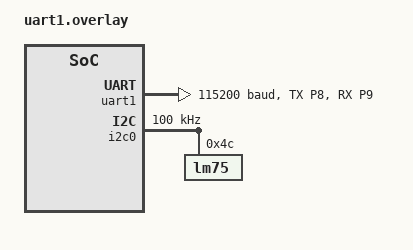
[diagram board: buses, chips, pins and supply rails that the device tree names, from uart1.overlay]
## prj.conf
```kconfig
CONFIG_GPIO=y
CONFIG_I2C=y
CONFIG_PICOLIBC=y
CONFIG_PICOLIBC_IO_FLOAT=y
CONFIG_LIBCSP=y
CONFIG_SERIAL=y
CONFIG_UART_INTERRUPT_DRIVEN=y
CONFIG_POSIX_API=y
CONFIG_LOG=y
CONFIG_SENSOR=y
CONFIG_SENSOR_ASYNC_API=y
CONFIG_LM75=y
```

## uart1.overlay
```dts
/ {
	chosen {
		zephyr,console = &uart1;
		zephyr,shell-uart = &uart1;
	};
};

&uart1 {
	current-speed = <115200>;
	status = "okay";
	pinctrl-0 = <&uart1_default>;
	pinctrl-names = "default";
};


&pinctrl {
	uart1_default: uart1_default {
		group1 {
			pinmux = <UART1_TX_P8>;
		};
		group2 {
			pinmux = <UART1_RX_P9>;
			input-enable;
		};
	};
};


&i2c0 {
	status = "okay";
	clock-frequency = <100000>;

	lm75@4c{
		compatible = "lm75";
		reg = <0x4C>;
	};
};
```

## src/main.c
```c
/*
 * Copyright (c) 2023 Space Cubics, LLC.
 *
 * SPDX-License-Identifier: Apache-2.0
 */

#include <zephyr/kernel.h>
#include <zephyr/drivers/gpio.h>
#include "pico_csp.h"
#include <zephyr/device.h>
#include <zephyr/devicetree.h>
#include <zephyr/drivers/sensor.h>

#include <zephyr/logging/log.h>
LOG_MODULE_REGISTER(main, LOG_LEVEL_DBG);

const struct device *const temp_sensor = DEVICE_DT_GET_ANY(lm75);

int main(void)
{
	const struct gpio_dt_spec led = GPIO_DT_SPEC_GET(DT_ALIAS(led0), gpios);
	int ret;

	if (!gpio_is_ready_dt(&led)) {
		return 0;
	}

	ret = gpio_pin_configure_dt(&led, GPIO_OUTPUT_ACTIVE);
	if (ret < 0) {
		return 0;
	}

        if (!device_is_ready(temp_sensor)) {
        	LOG_ERR("Temperature sensor not found or not ready!");
        	return 0;
        }

	csp_server_start();

	while (true) {
		(void)gpio_pin_toggle_dt(&led);
		k_sleep(K_SECONDS(1));
	}

	return 0;
}
```

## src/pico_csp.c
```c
/*
 * Copyright (c) 2024 Space Cubics, LLC.
 *
 * SPDX-License-Identifier: Apache-2.0
 */

#include "pico_csp.h"

#include <stdlib.h>
#include <zephyr/kernel.h>
#include <csp/csp.h>
#include <csp/drivers/usart.h>
#include "temp.h"

#include <zephyr/logging/log.h>
LOG_MODULE_REGISTER(csp, CONFIG_MAIN_LOG_LEVEL);

#define ROUTER_STACK_SIZE (256U)
#define SERVER_STACK_SIZE (1024U)
#define ROUTER_PRIO       (0U)
#define SERVER_PRIO       (0U)

#define PICO_UART0_DEV      "uart@40034000"
#define PICO_UART0_BAUDRATE (115200U)
#define PICO_UART0_DATABIT  (8U)
#define PICO_UART0_STOPBITS (1U)
#define PICO_UART0_PARITY   (0U)
#define PICO_CSP_ADDR       (26U)

#define PORT_T (11U) /* for get temperature */

extern csp_conf_t csp_conf;

static void server(void);

static void *router_task(void *param)
{
	while (true) {
		csp_route_work();
	}

	return NULL;
}

static void *server_task(void *p1, void *p2, void *p3)
{
	ARG_UNUSED(p1);
	ARG_UNUSED(p2);
	ARG_UNUSED(p3);

	server();

	return NULL;
}

K_THREAD_DEFINE(router_id, ROUTER_STACK_SIZE, router_task, NULL, NULL, NULL, ROUTER_PRIO, 0,
		K_TICKS_FOREVER);
K_THREAD_DEFINE(server_id, SERVER_STACK_SIZE, server_task, NULL, NULL, NULL, SERVER_PRIO, 0,
		K_TICKS_FOREVER);

static void router_start(void)
{
	k_thread_start(router_id);
}

static void server_start(void)
{
	k_thread_start(server_id);
}

static void server(void)
{
	csp_conn_t *conn;
	csp_socket_t sock = {0};

	LOG_INF("Server task started");

	csp_bind(&sock, CSP_ANY);

	csp_listen(&sock, 10);

	while (true) {
		if ((conn = csp_accept(&sock, 10000)) == NULL) {
			continue;
		}

		csp_packet_t *packet;
		while ((packet = csp_read(conn, 50)) != NULL) {
			switch (csp_conn_dport(conn)) {
			case PORT_T:
				get_temp(conn);
				csp_buffer_free(packet);
				break;

			default:
				csp_service_handler(packet);
				break;
			}
		}

		csp_close(conn);
	}

	return;
}

int csp_server_start(void)
{
	int ret = 0;
	csp_conf.version = 1;
	const char *kiss_device = PICO_UART0_DEV;
	csp_iface_t *default_iface = NULL;
	int error;

	csp_init();

	router_start();

	csp_usart_conf_t conf = {.device = kiss_device,
				 .baudrate = PICO_UART0_BAUDRATE,
				 .databits = PICO_UART0_DATABIT,
				 .stopbits = PICO_UART0_STOPBITS,
				 .paritysetting = PICO_UART0_PARITY};
	error = csp_usart_open_and_add_kiss_interface(&conf, CSP_IF_KISS_DEFAULT_NAME,
						      PICO_CSP_ADDR, &default_iface);
	if (error != CSP_ERR_NONE) {
		LOG_ERR("failed to add KISS interface [%s], error: %d", kiss_device, error);
		ret = -1;
		goto end;
	}
	default_iface->is_default = 1;

	server_start();

end:
	return ret;
}
```

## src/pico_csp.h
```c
/*
 * Copyright (c) 2024 Space Cubics, LLC.
 *
 * SPDX-License-Identifier: Apache-2.0
 */

#pragma once

#include <csp/csp.h>

#define PORT_T (11U) /* for get temperature */

#define MAIN_OBC_CAN_ADDR (1U)
#define RPI_ZERO_CAN_ADDR (2U)
#define RPI_ZERO_UART_ADDR (3U)
#define RPI_PICO_UART_ADDR (4U)

int csp_server_start(void);
```

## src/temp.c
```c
/*
 * Copyright (c) 2024 Space Cubics, LLC.
 *
 * SPDX-License-Identifier: Apache-2.0
 */

#include <zephyr/drivers/i2c.h>
#include <zephyr/device.h>
#include <zephyr/drivers/sensor.h>
#include <csp/csp.h>
#include <csp/drivers/usart.h>
#include "temp.h"

#include <zephyr/logging/log.h>
LOG_MODULE_REGISTER(temp, LOG_LEVEL_DBG);

#define DEV_ADDR   (0x4e)
#define START_ADDR (0x00)
#define RESOLUTION (0.0625f)
#define BIT_SHIFT  (4)

extern const struct device *const temp_sensor;

void get_temp(csp_conn_t *conn)
{
	struct sensor_value temp_val;
	int rc = sensor_sample_fetch(temp_sensor);

	if (rc < 0) {
		LOG_ERR("Failed to fetch sensor data, error: %d", rc);
        return;
	} else {
		LOG_INF("Sensor data fetch successful");
	}

	/* get temp_data */
	rc = sensor_channel_get(temp_sensor, SENSOR_CHAN_AMBIENT_TEMP, &temp_val);
	if (rc < 0) {
		LOG_ERR("Failed to get sensor data, error: %d", rc);
		return;
	} else {
		LOG_INF("Sensor data get successful");
	}

	/* creating a packet to send temp_data */
	csp_packet_t *send_packet = csp_buffer_get(0);
	if (send_packet == NULL) {
		LOG_ERR("Failed to get CSP buffer");
		return;
	}

	/* Convert temperature data to the appropriate format*/
	float temp = (float)(temp_val.val1  + (float)(temp_val.val2)/1000000.0f);

	memcpy(send_packet->data, &temp, sizeof(temp));
	send_packet->length = sizeof(temp);
	csp_send(conn, send_packet);

}
```

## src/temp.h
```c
/*
 * Copyright (c) 2024 Space Cubics, LLC.
 *
 * SPDX-License-Identifier: Apache-2.0
 */

#pragma once

#include <zephyr/device.h>

void get_temp(csp_conn_t *conn);
```
